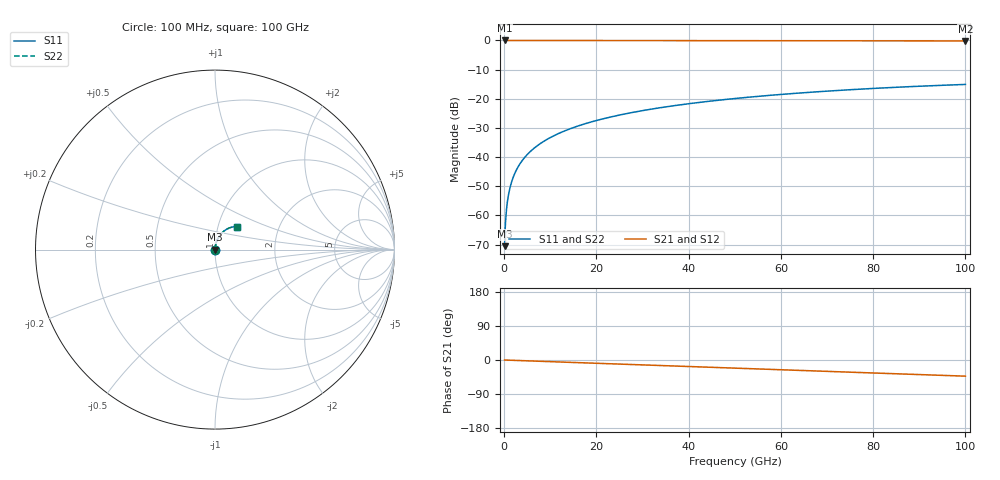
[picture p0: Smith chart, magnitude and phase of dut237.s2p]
! Touchstone file exported from HFSS 2026.1.0
!  File:  C:/ffzhzh/LocalFiles/Ansys_Project_Files/temp_train_TSV_237_1783508102_31944.aedt
!  Generated:  06:56:18 PM Jul  8, 2026
!  Design:  TSV
!  Project:  temp_train_TSV_237_1783508102_31944
! Variables:
!  h_bsmrdl = 2um
!  h_ox = 20um
!  h_rdl = 5um
!  h_sub = 80.55um
!  h_tmrdl = 5um
!  h_tsv = 80.55um
!  h_via = 3um
!  l_bsmrdl = 300um
!  l_sub = 417.52um
!  l_tmrdl = 200um
!  m_sub = 200um
!  pitch = 50.73um
!  r_tsv = 8.76um
!  s_tmrdl = 10um
!  w_bsmrdl = 18um
!  w_sub = 500um
!  w_tmrdl = 12um
!  x_tsv_center1 = 206um
!  x_tsv_center2 = 524um
!  x_tsv_center3 = 736um
!  x_tsv_center4 = 1054um
!  x_tsv_center5 = 1266um
!  x_tsv_center6 = 1584um
# GHz S MA R 50.000000
! Terminal data exported
! Port[1] = TSV1_1_T1
! Port[2] = TSV1_1_T2
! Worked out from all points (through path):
!   1000 points, 100 MHz to 100 GHz, reference 50 ohm
!   highest |S21| = 0.00 dB at 100 MHz (marker M1); lowest = -0.2 dB at 100 GHz (marker M2)
!   group delay of S21, straight-line fit = 1.18 ps
!   lowest |S11| = -70.5 dB at 100 MHz (marker M3), VSWR 1.00, Z = 50 + j0.0255 ohm
!   |S11| at or under -10 dB: start of sweep to end of sweep
!   |S22| runs from -70.5 to -15.1 dB; largest |S21 - S12| = 7.6e-15
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0.1  0.0002978 58.8  0.9998 -0.0  0.9998 -0.0  0.0002978 58.8
! Gamma 0 0 0 0
! Port Impedance 50 0 50 0
0.3  0.0007744 76.2  0.9998 -0.1  0.9998 -0.1  0.0007744 76.2
0.7  0.001709 81.0  0.9997 -0.3  0.9997 -0.3  0.001709 81.0
0.8  0.001936 81.5  0.9997 -0.4  0.9997 -0.4  0.001936 81.5
1  0.002385 82.2  0.9997 -0.4  0.9997 -0.4  0.002385 82.2
1.3  0.003053 82.9  0.9996 -0.6  0.9996 -0.6  0.003053 82.9
1.7  0.003937 83.5  0.9996 -0.8  0.9996 -0.8  0.003937 83.5
2.3  0.00525 83.9  0.9995 -1.0  0.9995 -1.0  0.00525 83.9
3  0.006767 84.2  0.9994 -1.3  0.9994 -1.3  0.006767 84.2
3.8  0.008487 84.3  0.9994 -1.7  0.9994 -1.7  0.008487 84.3
4.8  0.01062 84.3  0.9993 -2.1  0.9993 -2.1  0.01062 84.3
6  0.01318 84.1  0.9992 -2.6  0.9992 -2.6  0.01318 84.1
8.8  0.01911 83.4  0.9989 -3.8  0.9989 -3.8  0.01911 83.4
12.4  0.02667 82.2  0.9985 -5.4  0.9985 -5.4  0.02667 82.2
16.8  0.03583 80.7  0.9981 -7.3  0.9981 -7.3  0.03583 80.7
24.2  0.05102 77.8  0.9972 -10.5  0.9972 -10.5  0.05102 77.8
33.4  0.06946 74.1  0.9958 -14.4  0.9958 -14.4  0.06946 74.1
41.2  0.08461 70.9  0.9944 -17.8  0.9944 -17.8  0.08461 70.9
50.1  0.1012 67.2  0.9927 -21.6  0.9927 -21.6  0.1012 67.2
66.7  0.13 60.3  0.989 -28.6  0.989 -28.6  0.13 60.4
83.4  0.1554 53.4  0.9851 -35.7  0.9851 -35.7  0.1554 53.4
100  0.1763 46.5  0.9812 -42.7  0.9812 -42.7  0.1763 46.6
